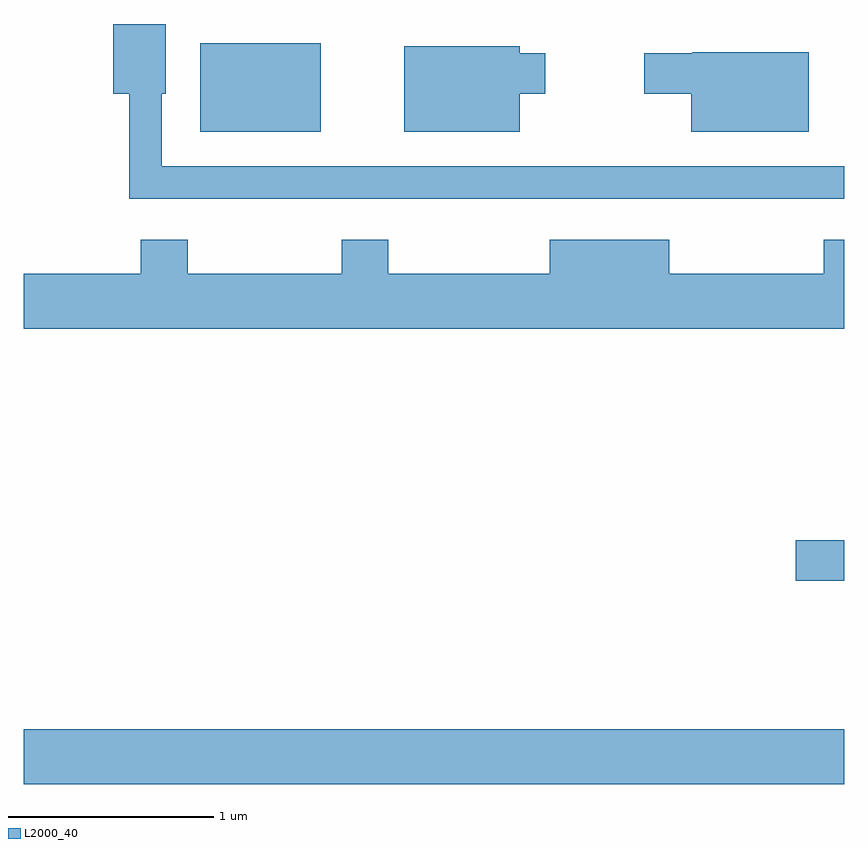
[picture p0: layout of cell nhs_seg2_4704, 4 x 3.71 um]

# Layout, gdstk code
import gdstk
lib = gdstk.Library(unit=1e-6, precision=1e-09)
def R(c, l, rs):  # rectangles x0, y0, x1, y1
    for r in rs: c.add(gdstk.rectangle(r[:2], r[2:], *l))
def P(c, l, *ps):  # polygons
    for p in ps: c.add(gdstk.Polygon(p, *l))
L2000_40 = (2000, 40)

nhs_seg2_4704 = lib.new_cell('nhs_seg2_4704')
R(nhs_seg2_4704, L2000_40, [(323.611,1046.096,327.611,1046.364), (327.376,1047.086,327.611,1047.284), (324.471,1049.276,325.059,1049.709)])
P(nhs_seg2_4704, L2000_40, [(327.611,1049.109),(324.284,1049.109),(324.284,1049.461),(324.304,1049.461),(324.304,1049.802),(324.046,1049.802),(324.046,1049.461),(324.126,1049.461),(324.126,1048.951),(327.611,1048.951)],
  [(326.029,1049.461),(326.154,1049.461),(326.154,1049.659),(326.029,1049.659),(326.029,1049.694),(325.466,1049.694),(325.466,1049.276),(326.029,1049.276)],
  [(327.439,1049.664),(326.87,1049.664),(326.87,1049.659),(326.636,1049.659),(326.636,1049.461),(326.866,1049.461),(326.866,1049.276),(327.439,1049.276)],
  [(326.176,1048.749),(326.176,1048.584),(325.389,1048.584),(325.389,1048.749),(325.161,1048.749),(325.161,1048.584),(324.409,1048.584),(324.409,1048.749),(324.181,1048.749),(324.181,1048.584),(323.611,1048.584),(323.611,1048.316),(327.611,1048.316),(327.611,1048.749),(327.511,1048.749),(327.511,1048.584),(326.759,1048.584),(326.759,1048.749)])

lib.write_gds('nhs_seg2_4704.gds')
